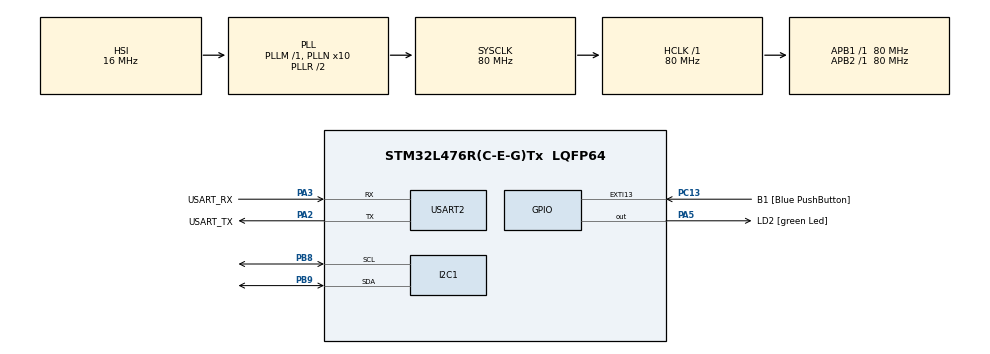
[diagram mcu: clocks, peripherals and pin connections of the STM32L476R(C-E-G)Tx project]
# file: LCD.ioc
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I2C1.Timing=0x10909CEC
Mcu.Family=STM32L4
Mcu.Name=STM32L476R(C-E-G)Tx
Mcu.Package=LQFP64
NVIC.PriorityGroup=NVIC_PRIORITYGROUP_4
PA13\ (JTMS-SWDIO).GPIO_Label=TMS
PA13\ (JTMS-SWDIO).Mode=Serial_Wire
PA13\ (JTMS-SWDIO).Signal=SYS_JTMS-SWDIO
PA14\ (JTCK-SWCLK).GPIO_Label=TCK
PA14\ (JTCK-SWCLK).Mode=Serial_Wire
PA14\ (JTCK-SWCLK).Signal=SYS_JTCK-SWCLK
PA2.GPIO_Label=USART_TX
PA2.GPIO_Mode=GPIO_MODE_AF_PP
PA2.GPIO_PuPd=GPIO_NOPULL
PA2.GPIO_Speed=GPIO_SPEED_FREQ_VERY_HIGH
PA2.Mode=Asynchronous
PA2.Signal=USART2_TX
PA3.GPIO_Label=USART_RX
PA3.GPIO_Mode=GPIO_MODE_AF_PP
PA3.GPIO_PuPd=GPIO_NOPULL
PA3.GPIO_Speed=GPIO_SPEED_FREQ_VERY_HIGH
PA3.Mode=Asynchronous
PA3.Signal=USART2_RX
PA5.GPIO_Label=LD2 [green Led]
PA5.GPIO_ModeDefaultOutputPP=GPIO_MODE_OUTPUT_PP
PA5.GPIO_PuPd=GPIO_NOPULL
PA5.GPIO_Speed=GPIO_SPEED_FREQ_LOW
PA5.Signal=GPIO_Output
PB3\ (JTDO-TRACESWO).GPIO_Label=SWO
PB3\ (JTDO-TRACESWO).Signal=SYS_JTDO-SWO
PB8.Mode=I2C
PB8.Signal=I2C1_SCL
PB9.Mode=I2C
PB9.Signal=I2C1_SDA
PC13.GPIO_Label=B1 [Blue PushButton]
PC13.GPIO_ModeDefaultEXTI=GPIO_MODE_IT_FALLING
PC13.GPIO_PuPd=GPIO_NOPULL
PC13.Signal=GPXTI13
PC14-OSC32_IN\ (PC14).Mode=LSE-External-Oscillator
PC14-OSC32_IN\ (PC14).Signal=RCC_OSC32_IN
PC15-OSC32_OUT\ (PC15).Mode=LSE-External-Oscillator
PC15-OSC32_OUT\ (PC15).Signal=RCC_OSC32_OUT
PH0-OSC_IN\ (PH0).Signal=RCC_OSC_IN
PH1-OSC_OUT\ (PH1).Signal=RCC_OSC_OUT
ProjectManager.HeapSize=0x200
ProjectManager.StackSize=0x400
ProjectManager.TargetToolchain=STM32CubeIDE
RCC.ADCFreq_Value=64000000
RCC.AHBFreq_Value=80000000
RCC.APB1Freq_Value=80000000
RCC.APB1TimFreq_Value=80000000
RCC.APB2Freq_Value=80000000
RCC.APB2TimFreq_Value=80000000
RCC.CortexFreq_Value=80000000
RCC.HCLKFreq_Value=80000000
RCC.HSE_VALUE=8000000
RCC.HSI_VALUE=16000000
RCC.MSI_VALUE=4000000
RCC.PLLN=10
RCC.PLLSourceVirtual=RCC_PLLSOURCE_HSI
RCC.PREFETCH_ENABLE=1
RCC.SYSCLKFreq_VALUE=80000000
RCC.SYSCLKSource=RCC_SYSCLKSOURCE_PLLCLK
RCC.USBFreq_Value=64000000
RCC.VCOOutputFreq_Value=160000000
USART2.VirtualMode-Asynchronous=VM_ASYNC
board=NUCLEO-L476RG

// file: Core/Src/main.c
/* USER CODE BEGIN Header */
/**
  ******************************************************************************
  * @file           : main.c
  * @brief          : Main program body
  ******************************************************************************
  * @attention
  *
  * Copyright (c) 2024 STMicroelectronics.
  * All rights reserved.
  *
  * This software is licensed under terms that can be found in the LICENSE file
  * in the root directory of this software component.
  * If no LICENSE file comes with this software, it is provided AS-IS.
  *
  ******************************************************************************
  */
/* USER CODE END Header */
#include "main.h"
#include "i2c.h"
#include "usart.h"
#include "gpio.h"

/* USER CODE BEGIN Includes */
#include "lib_lcd.h"
/* USER CODE END Includes */

/* USER CODE BEGIN PTD */
rgb_lcd lcd_struct ;
/* USER CODE END PTD */

void SystemClock_Config(void);

int main(void)
{

  /* MCU Configuration--------------------------------------------------------*/

  /* Reset of all peripherals, Initializes the Flash interface and the Systick. */
  HAL_Init();

  /* Configure the system clock */
  SystemClock_Config();

  /* Initialize all configured peripherals */
  MX_GPIO_Init();
  MX_USART2_UART_Init();
  MX_I2C1_Init();
  /* USER CODE BEGIN 2 */

  lcd_init(&hi2c1,&lcd_struct);
  lcd_position(&hi2c1,0, 0);
  lcd_print(&hi2c1, "Temp = ");
  /* USER CODE END 2 */

  /* Infinite loop */
  while (1)
  {

    /* USER CODE BEGIN 3 */
	  HAL_GPIO_WritePin(GPIOA, GPIO_PIN_5, 1);
	  HAL_Delay(1000);
	  clearlcd();
	  lcd_position(&hi2c1,0, 1);
	  lcd_print(&hi2c1, "LED ON ");
	  HAL_GPIO_WritePin(GPIOA, GPIO_PIN_5, 0);
	  HAL_Delay(1000);
	  clearlcd();
	  lcd_position(&hi2c1,0, 1);
	  lcd_print(&hi2c1, "LED OFF ");
  }
  /* USER CODE END 3 */
}

void SystemClock_Config(void)
{
  RCC_OscInitTypeDef RCC_OscInitStruct = {0};
  RCC_ClkInitTypeDef RCC_ClkInitStruct = {0};

  /** Configure the main internal regulator output voltage
  */
  if (HAL_PWREx_ControlVoltageScaling(PWR_REGULATOR_VOLTAGE_SCALE1) != HAL_OK)
  {
    Error_Handler();
  }

  /** Initializes the RCC Oscillators according to the specified parameters
  * in the RCC_OscInitTypeDef structure.
  */
  RCC_OscInitStruct.OscillatorType = RCC_OSCILLATORTYPE_HSI;
  RCC_OscInitStruct.HSIState = RCC_HSI_ON;
  RCC_OscInitStruct.HSICalibrationValue = RCC_HSICALIBRATION_DEFAULT;
  RCC_OscInitStruct.PLL.PLLState = RCC_PLL_ON;
  RCC_OscInitStruct.PLL.PLLSource = RCC_PLLSOURCE_HSI;
  RCC_OscInitStruct.PLL.PLLM = 1;
  RCC_OscInitStruct.PLL.PLLN = 10;
  RCC_OscInitStruct.PLL.PLLP = RCC_PLLP_DIV7;
  RCC_OscInitStruct.PLL.PLLQ = RCC_PLLQ_DIV2;
  RCC_OscInitStruct.PLL.PLLR = RCC_PLLR_DIV2;
  if (HAL_RCC_OscConfig(&RCC_OscInitStruct) != HAL_OK)
  {
    Error_Handler();
  }

  /** Initializes the CPU, AHB and APB buses clocks
  */
  RCC_ClkInitStruct.ClockType = RCC_CLOCKTYPE_HCLK|RCC_CLOCKTYPE_SYSCLK
                              |RCC_CLOCKTYPE_PCLK1|RCC_CLOCKTYPE_PCLK2;
  RCC_ClkInitStruct.SYSCLKSource = RCC_SYSCLKSOURCE_PLLCLK;
  RCC_ClkInitStruct.AHBCLKDivider = RCC_SYSCLK_DIV1;
  RCC_ClkInitStruct.APB1CLKDivider = RCC_HCLK_DIV1;
  RCC_ClkInitStruct.APB2CLKDivider = RCC_HCLK_DIV1;

  if (HAL_RCC_ClockConfig(&RCC_ClkInitStruct, FLASH_LATENCY_4) != HAL_OK)
  {
    Error_Handler();
  }
}

void Error_Handler(void)
{
  __disable_irq();
  while (1)
  {
  }
}
